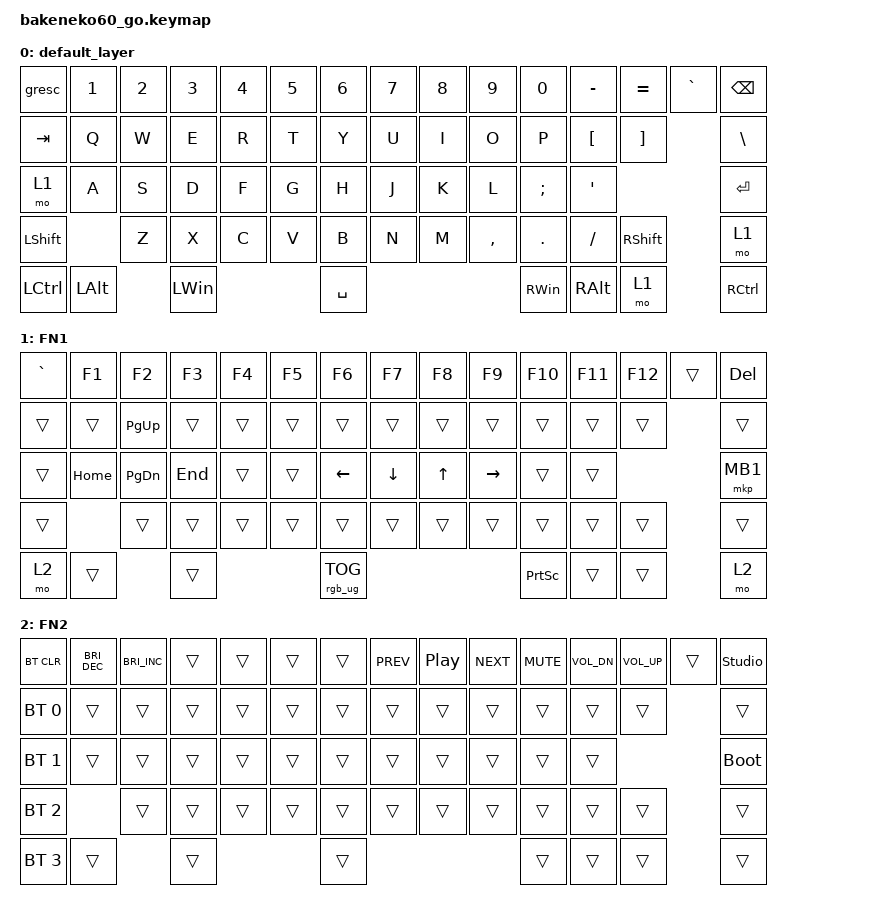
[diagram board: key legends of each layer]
/*
 * Copyright (c) 2023 Andrew Kannan
 *
 * SPDX-License-Identifier: MIT
 */

#include <behaviors.dtsi>
#include <dt-bindings/zmk/bt.h>
#include <dt-bindings/zmk/keys.h>
#include <dt-bindings/zmk/pointing.h>
#include <dt-bindings/zmk/rgb.h>

/ {
    keymap {
        compatible = "zmk,keymap";

        default_layer {
            // ------------------------------------------------------------------------------------------
            // | ESC |  1  |  2  |  3  |  4  |  5  |  6  |  7  |  8  |  9  |  0  |  -  |  =  | BKSP|BKSP|
            // | TAB  |  Q  |  W  |  E  |  R  |  T  |  Y  |  U  |  I  |  O  |  P  |  [  |  ]  |   "|"   |
            // | CAPS  |  A  |  S  |  D  |  F  |  G  |  H  |  J  |  K  |  L  |  ;  |  '  |     ENTER    |
            // |  SHIFT  |  Z  |  X  |  C  |  V  |  B  |  N  |  M  |  ,  |  .  |  /  |  SHIFT  | MO(1)  |
            // |  CTL  |  WIN  |  ALT  |            SPACE              |  ALT  |  WIN  |  MO(1) |  CTL  |
            // ------------------------------------------------------------------------------------------

            bindings = <
&gresc     &kp N1        &kp N2  &kp N3    &kp N4  &kp N5  &kp N6     &kp N7  &kp N8  &kp N9     &kp N0    &kp MINUS  &kp EQUAL  &kp GRAVE  &kp BSPC
&kp TAB    &kp Q         &kp W   &kp E     &kp R   &kp T   &kp Y      &kp U   &kp I   &kp O      &kp P     &kp LBKT   &kp RBKT              &kp BSLH
&mo 1      &kp A         &kp S   &kp D     &kp F   &kp G   &kp H      &kp J   &kp K   &kp L      &kp SEMI  &kp SQT                          &kp RET
&kp LSHFT                &kp Z   &kp X     &kp C   &kp V   &kp B      &kp N   &kp M   &kp COMMA  &kp DOT   &kp FSLH   &kp RSHFT             &mo 1
&kp LCTRL  &kp LEFT_ALT          &kp LWIN                  &kp SPACE                             &kp RWIN  &kp RALT   &mo 1                 &kp RCTRL
            >;
        };

        FN1 {
            // ------------------------------------------------------------------------------------------------
            // |    `   | F1  | F2  | F3  | F4  | F5  | F6  | F7  | F8  | F9  | F10  | F11 | F12 |     | DEL  |
            // | EFCT REV|   |  UP |   | HUEUP | SATUP | BRIUP | SPDUP |      |  PGUP |    |     |    |       |
            // | EFCT FWD | LT |  DN  | RT | HUEDN | SATDN | BRIDN | SPDDN | HOME | PGDN | END  |  | BOOTLDR  |
            // |             |     |      |      |     |     |     |     |     |     |     |         |        |
            // |         |      |      |             TOG RGB                | PRT SCR |       |       |  MO(2)|
            // ------------------------------------------------------------------------------------------------

            bindings = <
&kp GRAVE  &kp F1    &kp F2     &kp F3   &kp F4  &kp F5  &kp F6           &kp F7    &kp F8  &kp F9     &kp F10    &kp F11  &kp F12  &trans  &kp DEL
&trans     &trans    &kp PG_UP  &trans   &trans  &trans  &trans           &trans    &trans  &trans     &trans     &trans   &trans           &trans
&trans     &kp HOME  &kp PG_DN  &kp END  &trans  &trans  &kp LEFT         &kp DOWN  &kp UP  &kp RIGHT  &trans     &trans                    &mkp MB1
&trans               &trans     &trans   &trans  &trans  &trans           &trans    &trans  &trans     &trans     &trans   &trans           &trans
&mo 2      &trans               &trans                   &rgb_ug RGB_TOG                               &kp PSCRN  &trans   &trans           &mo 2
            >;

            label = "FN1";
        };

        fn2 {
            // ------------------------------------------------------------------------------------------------
            // | BT CLR |     |     |     |     |     |     |     |     |     |     |    |    |       |       |
            // |  BT 1   |   |     |   |       |       |       |       |   |     |    |     |     |           |
            // |   BT 2   |    |      |    |       |       |       |       |      |      |      |  |   Reset  |
            // |    BT 3     |     |      |      |     |     |     |     |     |     |     |         |        |
            // |   BT 4  |      |      |                                    |         |       |       |       |
            // ------------------------------------------------------------------------------------------------

            bindings = <
&bt BT_CLR    &kp C_BRIGHTNESS_DEC  &kp C_BRIGHTNESS_INC  &trans  &trans  &trans  &trans  &kp C_PREV  &kp C_PP  &kp C_NEXT  &kp C_MUTE  &kp C_VOL_DN  &kp C_VOL_UP  &trans  &studio_unlock
&bt BT_SEL 0  &trans                &trans                &trans  &trans  &trans  &trans  &trans      &trans    &trans      &trans      &trans        &trans                &trans
&bt BT_SEL 1  &trans                &trans                &trans  &trans  &trans  &trans  &trans      &trans    &trans      &trans      &trans                              &bootloader
&bt BT_SEL 2                        &trans                &trans  &trans  &trans  &trans  &trans      &trans    &trans      &trans      &trans        &trans                &trans
&bt BT_SEL 3  &trans                                      &trans                  &trans                                    &trans      &trans        &trans                &trans
            >;

            label = "FN2";
        };
    };

    combos {
        compatible = "zmk,combos";

        right_fn2 {
            timeout-ms = <50>;
            key-positions = <61 62>;
            bindings = <&mo 2>;
        };

        left_fn2 {
            bindings = <&mo 2>;
            key-positions = <55 29>;
        };
    };
};
